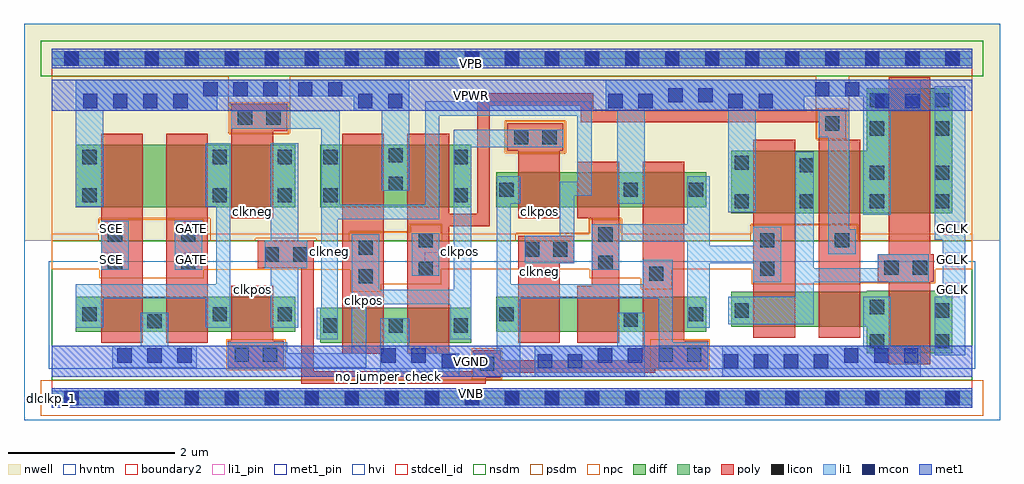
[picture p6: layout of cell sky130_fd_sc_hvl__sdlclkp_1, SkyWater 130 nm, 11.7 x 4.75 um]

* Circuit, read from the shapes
.subckt sky130_fd_sc_hvl__sdlclkp_1 CLK GATE GCLK SCE VGND VNB VPB VPWR
XM1 VGND SCE n1 VNB sky130_fd_pr__nfet_g5v0d10v5 w=0.42 l=0.5
XM2 n1 GATE VGND VNB sky130_fd_pr__nfet_g5v0d10v5 w=0.42 l=0.5
XM3 n2 n3 n1 VNB sky130_fd_pr__nfet_g5v0d10v5 w=0.42 l=0.5
XM4 VGND n3 n4 VNB sky130_fd_pr__nfet_g5v0d10v5 w=0.42 l=0.5
XM5 n3 CLK VGND VNB sky130_fd_pr__nfet_g5v0d10v5 w=0.42 l=0.5
XM6 n5 n4 n2 VNB sky130_fd_pr__nfet_g5v0d10v5 w=0.42 l=0.5
XM7 VGND n6 n5 VNB sky130_fd_pr__nfet_g5v0d10v5 w=0.42 l=0.5
XM8 n6 n2 VGND VNB sky130_fd_pr__nfet_g5v0d10v5 w=0.42 l=0.5
XM9 n7 n6 n8 VNB sky130_fd_pr__nfet_g5v0d10v5 w=0.42 l=0.5
XM10 VGND CLK n7 VNB sky130_fd_pr__nfet_g5v0d10v5 w=0.42 l=0.5
XM11 GCLK n8 VGND VNB sky130_fd_pr__nfet_g5v0d10v5 w=0.75 l=0.5
XM12 n9 SCE VPWR VPB sky130_fd_pr__pfet_g5v0d10v5 w=0.75 l=0.5
XM13 n1 GATE n9 VPB sky130_fd_pr__pfet_g5v0d10v5 w=0.75 l=0.5
XM14 n2 n4 n1 VPB sky130_fd_pr__pfet_g5v0d10v5 w=0.75 l=0.5
XM15 VPWR n3 n4 VPB sky130_fd_pr__pfet_g5v0d10v5 w=0.75 l=0.5
XM16 n3 CLK VPWR VPB sky130_fd_pr__pfet_g5v0d10v5 w=0.75 l=0.5
XM17 n10 n3 n2 VPB sky130_fd_pr__pfet_g5v0d10v5 w=0.42 l=0.5
XM18 VPWR n6 n10 VPB sky130_fd_pr__pfet_g5v0d10v5 w=0.42 l=0.5
XM19 n6 n2 VPWR VPB sky130_fd_pr__pfet_g5v0d10v5 w=0.42 l=0.5
XM20 n8 n6 VPWR VPB sky130_fd_pr__pfet_g5v0d10v5 w=0.75 l=0.5
XM21 VPWR CLK n8 VPB sky130_fd_pr__pfet_g5v0d10v5 w=0.75 l=0.5
XM22 GCLK n8 VPWR VPB sky130_fd_pr__pfet_g5v0d10v5 w=1.5 l=0.5
.ends

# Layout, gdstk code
import gdstk
lib = gdstk.Library(unit=1e-6, precision=1e-09)
def R(c, l, rs):  # rectangles x0, y0, x1, y1
    for r in rs: c.add(gdstk.rectangle(r[:2], r[2:], *l))
def A(c, l, x, y, w, h, nx, ny, dx, dy):  # array of equal rectangles
    R(c, l, [(x+i*dx, y+j*dy, x+i*dx+w, y+j*dy+h) for i in range(nx) for j in range(ny)])
def P(c, l, *ps):  # polygons
    for p in ps: c.add(gdstk.Polygon(p, *l))
nwell = (64, 20)
diff = (65, 20)
tap = (65, 44)
poly = (66, 20)
licon = (66, 44)
li1_pin = (67, 16)
li1 = (67, 20)
mcon = (67, 44)
met1_pin = (68, 16)
met1 = (68, 20)
hvi = (75, 20)
stdcell_id = (81, 4)
nsdm = (93, 44)
psdm = (94, 20)
npc = (95, 20)
hvntm = (125, 20)
boundary2 = (236, 0)

sky130_fd_sc_hvl__sdlclk = lib.new_cell('sky130_fd_sc_hvl__sdlclkp_1')
R(sky130_fd_sc_hvl__sdlclk, nwell, [(-0.33,1.885,11.37,4.485)])
R(sky130_fd_sc_hvl__sdlclk, diff, [(3.22,0.66,5.03,1.08), (0.29,0.795,2.92,1.215), (5.33,0.795,7.85,1.215), (0.29,2.285,2.92,3.035), (3.22,2.285,5.03,3.035), (5.33,2.285,7.85,2.705)])
P(sky130_fd_sc_hvl__sdlclk, diff, [(10.8,3.715),(9.77,3.715),(9.77,2.965),(8.15,2.965),(8.15,2.215),(10.8,2.215)],
  [(10.8,1.285),(9.77,1.285),(9.77,1.275),(8.15,1.275),(8.15,0.855),(9.77,0.855),(9.77,0.535),(10.8,0.535)])
R(sky130_fd_sc_hvl__sdlclk, tap, [(0,-0.085,11.04,0.085), (0,3.985,11.04,4.155)])
R(sky130_fd_sc_hvl__sdlclk, poly, [(5.055,0.245,5.385,0.575), (2.115,0.355,2.785,0.685), (7.085,0.355,7.87,0.685), (10.035,0.405,10.535,1.415), (3.485,0.53,3.985,1.21), (4.265,0.53,4.765,1.21), (0.595,0.665,1.095,3.165), (1.375,0.665,1.875,3.165), (2.155,0.665,2.655,1.345), (5.595,0.665,6.095,1.615), (6.305,0.665,6.805,1.345), (7.085,0.665,7.585,1.345), (8.415,0.725,8.915,1.415), (9.195,0.725,9.695,1.415), (3.485,1.21,3.985,2.155), (4.265,1.21,4.765,2.155), (3.6,1.295,3.93,1.965), (6.475,1.345,6.805,2.155), (7.085,1.345,7.585,2.155), (4.32,1.385,4.65,2.055), (8.415,1.385,8.745,2.055), (8.415,1.415,8.915,2.085), (9.195,1.415,9.695,2.085), (6.475,1.455,6.805,2.125), (2.475,1.555,3.145,1.885), (5.595,1.615,6.265,1.945), (8.415,2.085,8.915,3.095), (9.195,2.085,9.695,3.095), (10.035,2.085,10.535,3.845), (2.155,2.155,2.655,3.195), (3.485,2.155,3.985,3.165), (4.265,2.155,4.765,3.165), (5.595,2.155,6.095,2.965), (6.305,2.155,6.805,2.835), (7.085,2.155,7.585,2.835), (5.465,2.965,6.135,3.295), (2.155,3.195,2.825,3.525)])
P(sky130_fd_sc_hvl__sdlclk, poly, [(10.575,1.725),(10.535,1.725),(10.535,2.085),(10.035,2.085),(10.035,1.725),(9.905,1.725),(9.905,1.395),(10.575,1.395)],
  [(9.525,3.455),(6.495,3.455),(6.495,3.655),(5.105,3.655),(5.105,2.21),(4.765,2.21),(4.765,2.06),(5.255,2.06),(5.255,3.505),(6.345,3.505),(6.345,3.305),(9.195,3.305),(9.195,3.095),(9.525,3.095)],
  [(7.235,0.455),(5.055,0.455),(5.055,0.32),(3.145,0.32),(3.145,1.74),(2.995,1.74),(2.995,0.17),(5.205,0.17),(5.205,0.305),(7.235,0.305)])
A(sky130_fd_sc_hvl__sdlclk, licon, 0.155, -0.085, 0.17, 0.17, 23, 2, 0.48, 4.07)
A(sky130_fd_sc_hvl__sdlclk, licon, 3.26, 0.785, 0.17, 0.17, 3, 1, 0.78, 0)
R(sky130_fd_sc_hvl__sdlclk, licon, [(5.135,0.325,5.305,0.495), (2.195,0.435,2.365,0.605), (2.535,0.435,2.705,0.605), (7.28,0.435,7.45,0.605), (7.62,0.435,7.79,0.605), (9.81,0.595,9.98,0.765), (10.59,0.595,10.76,0.765), (1.15,0.835,1.32,1.005), (6.86,0.855,7.03,1.025), (0.37,0.92,0.54,1.09), (1.93,0.92,2.1,1.09), (2.71,0.92,2.88,1.09), (5.37,0.92,5.54,1.09), (7.64,0.92,7.81,1.09), (8.19,0.965,8.36,1.135), (10.59,0.965,10.76,1.135), (9.81,1.005,9.98,1.175), (3.68,1.375,3.85,1.545), (7.165,1.405,7.335,1.575), (4.4,1.465,4.57,1.635), (8.495,1.465,8.665,1.635), (9.985,1.475,10.155,1.645), (10.325,1.475,10.495,1.645), (0.675,1.535,0.845,1.705), (1.555,1.535,1.725,1.705), (6.555,1.535,6.725,1.705), (2.555,1.635,2.725,1.805), (2.895,1.635,3.065,1.805), (5.675,1.695,5.845,1.865), (6.015,1.695,6.185,1.865), (3.68,1.715,3.85,1.885), (4.4,1.805,4.57,1.975), (8.495,1.805,8.665,1.975), (9.39,1.805,9.56,1.975), (0.675,1.875,0.845,2.045), (1.555,1.875,1.725,2.045), (6.555,1.875,6.725,2.045), (8.19,2.275,8.36,2.445), (8.97,2.275,9.14,2.445), (9.81,2.275,9.98,2.445), (10.59,2.275,10.76,2.445), (0.37,2.345,0.54,2.515), (1.93,2.345,2.1,2.515), (2.71,2.345,2.88,2.515), (3.26,2.345,3.43,2.515), (4.82,2.345,4.99,2.515), (5.37,2.41,5.54,2.58), (6.86,2.41,7.03,2.58), (7.64,2.41,7.81,2.58), (4.04,2.485,4.21,2.655), (9.81,2.615,9.98,2.785), (10.59,2.615,10.76,2.785), (8.97,2.705,9.14,2.875), (8.19,2.735,8.36,2.905), (0.37,2.805,0.54,2.975), (1.93,2.805,2.1,2.975), (2.71,2.805,2.88,2.975), (3.26,2.805,3.43,2.975), (4.82,2.805,4.99,2.975), (4.04,2.825,4.21,2.995), (5.545,3.045,5.715,3.215), (5.885,3.045,6.055,3.215), (9.81,3.145,9.98,3.315), (10.59,3.145,10.76,3.315), (9.275,3.205,9.445,3.375), (2.235,3.275,2.405,3.445), (2.575,3.275,2.745,3.445), (9.81,3.485,9.98,3.655), (10.59,3.485,10.76,3.655)])
A(sky130_fd_sc_hvl__sdlclk, li1_pin, 10.715, 1.21, 0.17, 0.17, 1, 3, 0, 0.37)
R(sky130_fd_sc_hvl__sdlclk, li1_pin, [(0.635,1.58,0.805,1.75), (1.595,1.58,1.765,1.75), (4.475,1.58,4.645,1.75), (0.635,1.95,0.805,2.12), (1.595,1.95,1.765,2.12)])
R(sky130_fd_sc_hvl__sdlclk, li1, [(0,-0.085,11.04,0.085), (4.32,1.465,4.65,1.975), (0.595,1.535,0.925,2.125), (1.475,1.535,1.805,2.125), (0,3.985,11.04,4.155)])
P(sky130_fd_sc_hvl__sdlclk, li1, [(3.065,1.885),(2.96,1.885),(2.96,3.055),(2.63,3.055),(2.63,1.885),(2.555,1.885),(2.555,1.555),(2.63,1.555),(2.63,0.84),(2.96,0.84),(2.96,1.555),(3.065,1.555)],
  [(4.29,3.815),(0.29,3.815),(0.29,2.295),(0.62,2.295),(0.62,3.445),(1.985,3.445),(1.985,3.615),(3.625,3.615),(3.625,3.445),(3.96,3.445),(3.96,2.485),(4.29,2.485)],
  [(6.135,3.215),(4.82,3.215),(4.82,1.295),(3.93,1.295),(3.93,1.965),(3.6,1.965),(3.6,0.535),(2.825,0.535),(2.825,0.67),(2.115,0.67),(2.115,0.365),(3.77,0.365),(3.77,1.125),(4.78,1.125),(4.78,0.705),(5.03,0.705),(5.03,3.005),(6.135,3.005)],
  [(6.475,3.555),(4.48,3.555),(4.48,2.315),(3.455,2.315),(3.455,3.445),(2.155,3.445),(2.155,3.225),(3.235,3.225),(3.235,1.08),(3.18,1.08),(3.18,0.705),(3.43,0.705),(3.43,2.145),(4.65,2.145),(4.65,3.385),(6.305,3.385),(6.305,2.595),(6.095,2.595),(6.095,1.945),(5.675,1.945),(5.675,1.615),(6.265,1.615),(6.265,2.425),(6.475,2.425)],
  [(7.11,1.025),(6.78,1.025),(6.78,0.625),(5.79,0.625),(5.79,0.255),(7.11,0.255)],
  [(7.87,0.67),(7.45,0.67),(7.45,1.655),(7.085,1.655),(7.085,1.365),(5.505,1.365),(5.505,2.33),(5.62,2.33),(5.62,2.66),(5.335,2.66),(5.335,0.535),(5.055,0.535),(5.055,0.255),(5.62,0.255),(5.62,1.195),(7.28,1.195),(7.28,0.355),(7.87,0.355)],
  [(8.745,2.055),(8.415,2.055),(8.415,1.825),(7.89,1.825),(7.89,2.66),(7.62,2.66),(7.62,2.085),(6.475,2.085),(6.475,1.535),(6.805,1.535),(6.805,1.875),(7.62,1.875),(7.62,0.84),(7.89,0.84),(7.89,1.615),(8.415,1.615),(8.415,1.385),(8.745,1.385)],
  [(9.64,2.025),(9.56,2.025),(9.56,3.445),(9.195,3.445),(9.195,3.125),(9.31,3.125),(9.31,1.725),(9.64,1.725)],
  [(10.42,3.815),(6.645,3.815),(6.645,3.445),(6.78,3.445),(6.78,2.33),(7.11,2.33),(7.11,3.445),(8.11,3.445),(8.11,2.225),(8.44,2.225),(8.44,3.445),(9.025,3.445),(9.025,3.615),(9.73,3.615),(9.73,2.195),(10.06,2.195),(10.06,3.445),(10.42,3.445)],
  [(10.515,1.725),(9.905,1.725),(9.905,1.555),(9.14,1.555),(9.14,2.955),(8.915,2.955),(8.915,1.215),(8.11,1.215),(8.11,0.885),(9.14,0.885),(9.14,1.385),(10.515,1.385)],
  [(10.955,3.735),(10.59,3.735),(10.59,1.895),(10.685,1.895),(10.685,1.215),(10.59,1.215),(10.59,0.515),(10.955,0.515)],
  [(2.145,3.055),(1.85,3.055),(1.85,2.295),(1.975,2.295),(1.975,1.365),(0.29,1.365),(0.29,0.84),(0.62,0.84),(0.62,1.195),(1.85,1.195),(1.85,0.84),(2.145,0.84)],
  [(1.74,0.625),(1.4,0.625),(1.4,1.025),(1.07,1.025),(1.07,0.625),(0.73,0.625),(0.73,0.365),(1.74,0.365)],
  [(10.42,0.625),(10.06,0.625),(10.06,1.215),(9.73,1.215),(9.73,0.625),(8.04,0.625),(8.04,0.255),(10.42,0.255)],
  [(4.885,0.535),(4.61,0.535),(4.61,0.625),(4.29,0.625),(4.29,0.955),(3.94,0.955),(3.94,0.255),(4.885,0.255)])
A(sky130_fd_sc_hvl__sdlclk, mcon, 0.155, -0.085, 0.17, 0.17, 23, 2, 0.48, 4.07)
A(sky130_fd_sc_hvl__sdlclk, mcon, 8.06, 0.355, 0.17, 0.17, 4, 1, 0.36, 0)
A(sky130_fd_sc_hvl__sdlclk, mcon, 0.79, 0.425, 0.17, 0.17, 3, 1, 0.36, 0)
A(sky130_fd_sc_hvl__sdlclk, mcon, 9.5, 0.425, 0.17, 0.17, 3, 1, 0.36, 0)
A(sky130_fd_sc_hvl__sdlclk, mcon, 0.38, 3.475, 0.17, 0.17, 4, 1, 0.36, 0)
A(sky130_fd_sc_hvl__sdlclk, mcon, 1.82, 3.615, 0.17, 0.17, 3, 1, 0.36, 0)
R(sky130_fd_sc_hvl__sdlclk, mcon, [(4.675,0.355,4.845,0.525), (5.83,0.355,6,0.525), (6.19,0.355,6.36,0.525), (3.955,0.425,4.125,0.595), (4.315,0.425,4.485,0.595), (6.55,0.425,6.72,0.595), (6.91,0.425,7.08,0.595), (3.675,3.475,3.845,3.645), (4.035,3.475,4.205,3.645), (6.675,3.475,6.845,3.645), (7.035,3.475,7.205,3.645), (8.115,3.475,8.285,3.645), (8.475,3.475,8.645,3.645), (9.875,3.475,10.045,3.645), (10.235,3.475,10.405,3.645), (7.395,3.545,7.565,3.715), (7.755,3.545,7.925,3.715), (2.955,3.615,3.125,3.785), (3.315,3.615,3.485,3.785), (9.155,3.615,9.325,3.785), (9.515,3.615,9.685,3.785)])
R(sky130_fd_sc_hvl__sdlclk, met1_pin, [(0,0,11.04,0.115), (0,0.255,11.04,0.625), (0,3.445,11.04,3.815), (0,3.955,11.04,4.07)])
R(sky130_fd_sc_hvl__sdlclk, met1, [(0,-0.115,11.04,0.115), (0,0.255,11.04,0.625), (0,3.445,11.04,3.815), (0,3.955,11.04,4.185)])
R(sky130_fd_sc_hvl__sdlclk, hvi, [(-0.33,-0.265,11.37,4.485)])
R(sky130_fd_sc_hvl__sdlclk, stdcell_id, [(0,0,11.04,4.07)])
R(sky130_fd_sc_hvl__sdlclk, nsdm, [(0,0.215,11.04,1.885), (0.02,0.405,10.93,1.415), (-0.13,3.855,11.17,4.285), (0,3.855,11.04,4.07)])
R(sky130_fd_sc_hvl__sdlclk, psdm, [(-0.13,-0.215,11.17,0.215)])
P(sky130_fd_sc_hvl__sdlclk, psdm, [(11.04,3.855),(9.555,3.855),(9.555,3.095),(9.165,3.095),(9.165,3.855),(6.165,3.855),(6.165,2.935),(5.435,2.935),(5.435,3.325),(6.165,3.325),(6.165,3.855),(2.855,3.855),(2.855,3.165),(2.125,3.165),(2.125,3.855),(0,3.855),(0,1.885),(0.565,1.885),(0.565,2.155),(1.9,2.155),(1.9,1.885),(2.445,1.885),(2.445,1.915),(3.175,1.915),(3.175,1.885),(3.57,1.885),(3.57,1.995),(4.285,1.995),(4.285,2.085),(4.68,2.085),(4.68,1.885),(5.565,1.885),(5.565,1.975),(6.445,1.975),(6.445,2.155),(6.835,2.155),(6.835,1.885),(8.385,1.885),(8.385,2.085),(9.67,2.085),(9.67,1.885),(11.04,1.885)])
R(sky130_fd_sc_hvl__sdlclk, npc, [(5.035,0.225,5.405,0.595), (2.095,0.335,2.805,0.705), (7.18,0.335,7.89,0.705), (5.445,2.945,6.155,3.315), (9.175,3.105,9.545,3.475), (2.135,3.175,2.845,3.545)])
P(sky130_fd_sc_hvl__sdlclk, npc, [(11.04,1.97),(9.66,1.97),(9.66,2.075),(8.395,2.075),(8.395,1.97),(6.825,1.97),(6.825,2.145),(6.455,2.145),(6.455,1.97),(4.67,1.97),(4.67,2.075),(4.3,2.075),(4.3,1.985),(3.58,1.985),(3.58,1.97),(1.825,1.97),(1.825,2.145),(0.575,2.145),(0.575,1.97),(0,1.97),(0,1.545),(0.575,1.545),(0.575,1.435),(1.825,1.435),(1.825,1.535),(3.58,1.535),(3.58,1.275),(3.95,1.275),(3.95,1.365),(4.67,1.365),(4.67,1.545),(6.455,1.545),(6.455,1.435),(7.065,1.435),(7.065,1.305),(7.435,1.305),(7.435,1.545),(8.395,1.545),(8.395,1.365),(9.68,1.365),(9.68,1.375),(10.595,1.375),(10.595,1.545),(11.04,1.545)])
R(sky130_fd_sc_hvl__sdlclk, hvntm, [(-0.035,0.35,11.075,1.64)])
R(sky130_fd_sc_hvl__sdlclk, boundary2, [(0,0,11.04,4.07)])
sky130_fd_sc_hvl__sdlclk.add(gdstk.Label('clkneg', (5.85,1.515), layer=83, texttype=44))
sky130_fd_sc_hvl__sdlclk.add(gdstk.Label('clkpos', (3.74,1.17), layer=83, texttype=44))
sky130_fd_sc_hvl__sdlclk.add(gdstk.Label('clkpos', (5.85,2.23), layer=83, texttype=44))
sky130_fd_sc_hvl__sdlclk.add(gdstk.Label('dlclkp_1', (0,0), layer=83, texttype=44))
sky130_fd_sc_hvl__sdlclk.add(gdstk.Label('clkneg', (3.33,1.76), layer=83, texttype=44))
sky130_fd_sc_hvl__sdlclk.add(gdstk.Label('clkpos', (2.41,1.295), layer=83, texttype=44))
sky130_fd_sc_hvl__sdlclk.add(gdstk.Label('clkpos', (4.89,1.76), layer=83, texttype=44))
sky130_fd_sc_hvl__sdlclk.add(gdstk.Label('clkneg', (2.41,2.23), layer=83, texttype=44))
sky130_fd_sc_hvl__sdlclk.add(gdstk.Label('no_jumper_check', (4.035,0.255), layer=83, texttype=44))
sky130_fd_sc_hvl__sdlclk.add(gdstk.Label('VGND', (5.04,0.44), layer=68, texttype=5))
sky130_fd_sc_hvl__sdlclk.add(gdstk.Label('VNB', (5.04,0.058), layer=68, texttype=5))
sky130_fd_sc_hvl__sdlclk.add(gdstk.Label('VPWR', (5.04,3.63), layer=68, texttype=5))
sky130_fd_sc_hvl__sdlclk.add(gdstk.Label('VPB', (5.04,4.013), layer=68, texttype=5))
sky130_fd_sc_hvl__sdlclk.add(gdstk.Label('GATE', (1.68,1.665), layer=67, texttype=5))
sky130_fd_sc_hvl__sdlclk.add(gdstk.Label('CLK', (4.56,1.665), layer=67, texttype=5))
sky130_fd_sc_hvl__sdlclk.add(gdstk.Label('GCLK', (10.8,2.035), layer=67, texttype=5))
sky130_fd_sc_hvl__sdlclk.add(gdstk.Label('GCLK', (10.8,1.665), layer=67, texttype=5))
sky130_fd_sc_hvl__sdlclk.add(gdstk.Label('GCLK', (10.8,1.295), layer=67, texttype=5))
sky130_fd_sc_hvl__sdlclk.add(gdstk.Label('SCE', (0.72,1.665), layer=67, texttype=5))
sky130_fd_sc_hvl__sdlclk.add(gdstk.Label('SCE', (0.72,2.035), layer=67, texttype=5))
sky130_fd_sc_hvl__sdlclk.add(gdstk.Label('GATE', (1.68,2.035), layer=67, texttype=5))

lib.write_gds('sky130_fd_sc_hvl__sdlclkp_1.gds')
